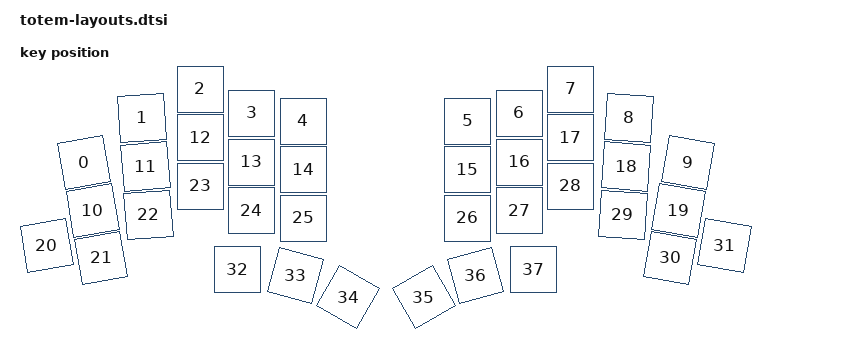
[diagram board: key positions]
#include <physical_layouts.dtsi>

/ {
    totem_physical_layout: totem_physical_layout {
        compatible = "zmk,physical-layout";
        display-name = "Default";
        transform = <&default_transform>;

        keys  //                     w   h    x    y     rot    rx    ry
            = <&key_physical_attrs 100 100    75   147  (-1000)   125   194>
            , <&key_physical_attrs 100 100   191    58   (-400)   241   105>
            , <&key_physical_attrs 100 100   308     0       0     0     0>
            , <&key_physical_attrs 100 100   411    48       0     0     0>
            , <&key_physical_attrs 100 100   514    64       0     0     0>
            , <&key_physical_attrs 100 100   843    64       0     0     0>
            , <&key_physical_attrs 100 100   946    48       0     0     0>
            , <&key_physical_attrs 100 100  1049     0       0     0     0>
            , <&key_physical_attrs 100 100  1166    58     400  1216   105>
            , <&key_physical_attrs 100 100  1284   147    1000  1334   194>
            , <&key_physical_attrs 100 100    92   243  (-1000)   142   290>
            , <&key_physical_attrs 100 100   198   155   (-400)   248   202>
            , <&key_physical_attrs 100 100   308    97       0     0     0>
            , <&key_physical_attrs 100 100   411   146       0     0     0>
            , <&key_physical_attrs 100 100   514   161       0     0     0>
            , <&key_physical_attrs 100 100   843   161       0     0     0>
            , <&key_physical_attrs 100 100   946   146       0     0     0>
            , <&key_physical_attrs 100 100  1049    97       0     0     0>
            , <&key_physical_attrs 100 100  1160   155     400  1210   202>
            , <&key_physical_attrs 100 100  1265   243    1000  1315   290>
            , <&key_physical_attrs 100 100     0   313  (-1000)    50   360>
            , <&key_physical_attrs 100 100   109   338  (-1000)   159   385>
            , <&key_physical_attrs 100 100   204   252   (-400)   254   299>
            , <&key_physical_attrs 100 100   308   194       0     0     0>
            , <&key_physical_attrs 100 100   411   243       0     0     0>
            , <&key_physical_attrs 100 100   514   258       0     0     0>
            , <&key_physical_attrs 100 100   843   258       0     0     0>
            , <&key_physical_attrs 100 100   946   243       0     0     0>
            , <&key_physical_attrs 100 100  1049   194       0     0     0>
            , <&key_physical_attrs 100 100  1153   252     400  1203   299>
            , <&key_physical_attrs 100 100  1248   338    1000  1298   385>
            , <&key_physical_attrs 100 100  1357   313    1000  1407   360>
            , <&key_physical_attrs 100 100   383   361       0     0     0>
            , <&key_physical_attrs 100 100   499   373    1500   549   421>
            , <&key_physical_attrs 100 100   605   417    3000   655   464>
            , <&key_physical_attrs 100 100   753   417  (-3000)   803   464>
            , <&key_physical_attrs 100 100   858   373  (-1500)   908   421>
            , <&key_physical_attrs 100 100   975   361       0     0     0>
            ;
    };
};
